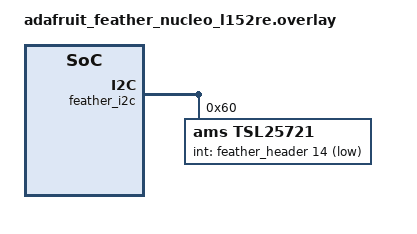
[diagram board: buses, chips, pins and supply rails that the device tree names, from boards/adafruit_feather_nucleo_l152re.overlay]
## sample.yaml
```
sample:
  name: VCNL4040 Sensor Sample
tests:
  sample.sensor.tsl25721:
    harness: sensor
    platform_allow: adafruit_feather_nucleo_l152re  
    integration_platforms:
      - adafruit_feather_nucleo_l152re
    tags: sensors
    filter: dt_compat_enabled("ams,tsl25721")
```

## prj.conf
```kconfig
CONFIG_PRINTK=y
CONFIG_GPIO=y
CONFIG_I2C=y
CONFIG_SENSOR=y
CONFIG_TSL25721=y
CONFIG_TSL25721_TRIGGER_GLOBAL_THREAD=y
CONFIG_TSL25721_ENABLE_ALS=y
```

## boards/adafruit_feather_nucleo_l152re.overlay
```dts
/*
 * Copyright (c) 2020, Richard Osterloh
 *
 * SPDX-License-Identifier: Apache-2.0
 */

&feather_i2c {
	tsl25721@60 {
		compatible = "ams,tsl25721";
		reg = <0x60>;
		int-gpios = <&feather_header 14 (GPIO_ACTIVE_LOW | GPIO_PULL_UP)>;
		led-current = <200>;
		led-duty-cycle = <320>;
		proximity-it = "8";
		proximity-trigger = "close";
		als-it = <640>;
	};
};
```

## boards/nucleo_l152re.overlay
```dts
/*
 * Copyright (c) 2020, Richard Osterloh
 *
 * SPDX-License-Identifier: Apache-2.0
 */

&i2c1 {
	tsl25721@60 {
		compatible = "ams,tsl25721";
		status = "okay";
		reg = <0x60>;
		int-gpios = <&gpioa 14 (GPIO_ACTIVE_LOW | GPIO_PULL_UP)>;
		led-current = <200>;
		led-duty-cycle = <320>;
		proximity-it = "8";
		proximity-trigger = "close";
		als-it = <640>;
	};
};
```

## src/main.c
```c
/*
 * Copyright (c) 2020 Richard Osterloh
 *
 * SPDX-License-Identifier: Apache-2.0
 */

#include <zephyr/kernel.h>

#include <zephyr/sys/printk.h>
#include <zephyr/sys_clock.h>
#include <stdio.h>

#include <zephyr/device.h>
#include <zephyr/drivers/sensor.h>
#include <zephyr/drivers/i2c.h>

#define MAX_TEST_TIME	5000
#define SLEEPTIME	300

static void print_proxy_data(const struct device *dev)
{
	struct sensor_value pdata;

	if (sensor_channel_get(dev, SENSOR_CHAN_PROX, &pdata) < 0) {
		printf("Cannot read proximity data.\n");
		return;
	}

	//printf("Proximity: %d\n", (uint16_t) pdata.val1);
}
#if defined(CONFIG_TSL25721_ENABLE_ALS)
static void print_als_data(const struct device *dev)
{
	struct sensor_value val;

	if (sensor_channel_get(dev, SENSOR_CHAN_LIGHT, &val) < 0) {
		printf("ALS read error.\n");
		return;
	}

	printf("Light (lux): %d\n", (uint16_t) val.val1);
}
#endif
static void test_polling_mode(const struct device *dev)
{
	int32_t remaining_test_time = MAX_TEST_TIME;

	do {
		if (sensor_sample_fetch(dev) < 0) {
			printf("sample update error.\n");
		} else {
			print_proxy_data(dev);
#if defined(CONFIG_TSL25721_ENABLE_ALS)
			print_als_data(dev);
#endif
		}

		/* wait a while */
		k_sleep(K_MSEC(SLEEPTIME));

		remaining_test_time -= SLEEPTIME;
	} while (remaining_test_time > 0);
}

#if 0 //defined(CONFIG_TSL25721_TRIGGER)
static void trigger_handler(const struct device *dev,
			    const struct sensor_trigger *trig)
{
	switch (trig->type) {
	case SENSOR_TRIG_THRESHOLD:
		printf("Triggered.\n");
		if (sensor_sample_fetch(dev) < 0) {
			printf("sample update error.\n");
		} else {
			print_proxy_data(dev);
		}
		return;

	default:
		printf("trigger handler: unknown trigger type.\n");
		return;
	}
}
#endif

static void test_trigger_mode(const struct device *dev)
{
#if 0 //defined(CONFIG_TSL25721_TRIGGER)
	struct sensor_trigger trig;
	struct sensor_value attr;

	printf("Testing proximity trigger.\n");

	attr.val1 = 127;
	attr.val2 = 0;

	if (sensor_attr_set(dev, SENSOR_CHAN_PROX,
			    SENSOR_ATTR_UPPER_THRESH, &attr) < 0) {
		printf("cannot set proximity high threshold.\n");
		return;
	}

	attr.val1 = 122;

	if (sensor_attr_set(dev, SENSOR_CHAN_PROX,
			    SENSOR_ATTR_LOWER_THRESH, &attr) < 0) {
		printf("cannot set proximity low threshold.\n");
		return;
	}

	trig.type = SENSOR_TRIG_THRESHOLD;
	trig.chan = SENSOR_CHAN_PROX;

	if (sensor_trigger_set(dev, &trig, trigger_handler) < 0) {
		printf("cannot set trigger.\n");
		return;
	}

	k_sleep(K_MSEC(MAX_TEST_TIME));

	if (sensor_trigger_set(dev, &trig, NULL) < 0) {
		printf("cannot clear trigger.\n");
		return;
	}

	printf("Threshold trigger test finished.\n");
#endif

}

int main(void)
{
	const struct device *const vcnl = DEVICE_DT_GET_ONE(ams_tsl25721);

	if (!device_is_ready(vcnl)) {
		printk("sensor: device not ready.\n");
		return 0;
	}

	printf("Testing the polling mode.\n");
	test_polling_mode(vcnl);
	printf("Polling mode test finished.\n");

	printf("Testing the trigger mode.\n");
	test_trigger_mode(vcnl);
	printf("Trigger mode test finished.\n");
	return 0;
}
```
